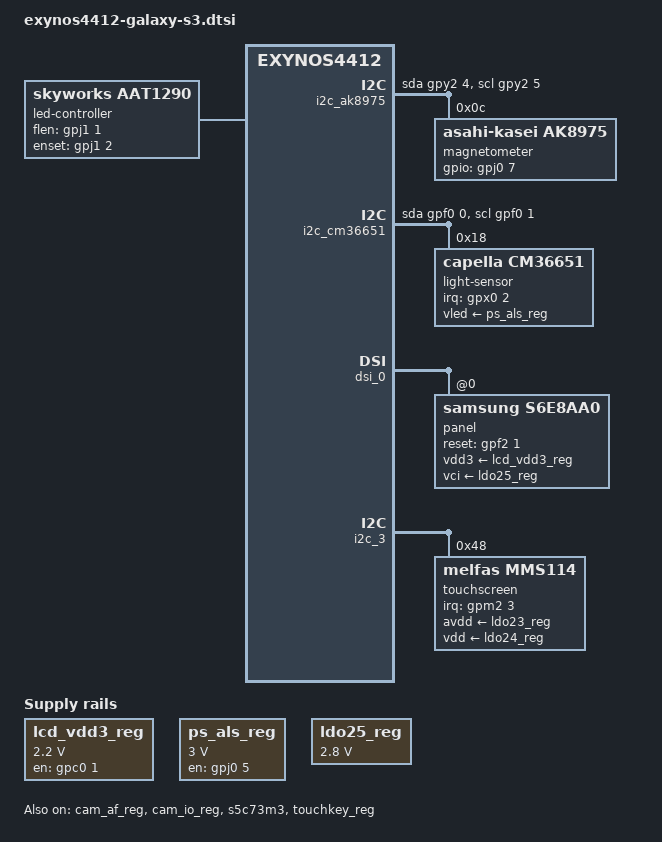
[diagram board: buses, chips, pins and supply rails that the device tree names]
// SPDX-License-Identifier: GPL-2.0
/*
 * Samsung's Exynos4412 based Galaxy S3 board device tree source
 *
 * Copyright (c) 2013 Samsung Electronics Co., Ltd.
 *		http://www.samsung.com
 */

/dts-v1/;
#include "exynos4412-midas.dtsi"

/ {
	aliases {
		i2c9 = &i2c_ak8975;
		i2c10 = &i2c_cm36651;
	};

	led-controller {
		compatible = "skyworks,aat1290";
		flen-gpios = <&gpj1 1 GPIO_ACTIVE_HIGH>;
		enset-gpios = <&gpj1 2 GPIO_ACTIVE_HIGH>;

		pinctrl-names = "default", "host", "isp";
		pinctrl-0 = <&camera_flash_host>;
		pinctrl-1 = <&camera_flash_host>;
		pinctrl-2 = <&camera_flash_isp>;

		flash-led {
			label = "flash";
			led-max-microamp = <520833>;
			flash-max-microamp = <1012500>;
			flash-max-timeout-us = <1940000>;
		};
	};

	lcd_vdd3_reg: voltage-regulator-10 {
		compatible = "regulator-fixed";
		regulator-name = "LCD_VDD_2.2V";
		regulator-min-microvolt = <2200000>;
		regulator-max-microvolt = <2200000>;
		gpio = <&gpc0 1 GPIO_ACTIVE_HIGH>;
		enable-active-high;
	};

	ps_als_reg: voltage-regulator-11 {
		compatible = "regulator-fixed";
		regulator-name = "LED_A_3.0V";
		regulator-min-microvolt = <3000000>;
		regulator-max-microvolt = <3000000>;
		gpio = <&gpj0 5 GPIO_ACTIVE_HIGH>;
		enable-active-high;
	};

	i2c_ak8975: i2c-gpio-0 {
		compatible = "i2c-gpio";
		sda-gpios = <&gpy2 4 (GPIO_ACTIVE_HIGH | GPIO_OPEN_DRAIN)>;
		scl-gpios = <&gpy2 5 (GPIO_ACTIVE_HIGH | GPIO_OPEN_DRAIN)>;
		i2c-gpio,delay-us = <2>;
		#address-cells = <1>;
		#size-cells = <0>;

		magnetometer@c {
			compatible = "asahi-kasei,ak8975";
			reg = <0x0c>;
			gpios = <&gpj0 7 GPIO_ACTIVE_HIGH>;
		};
	};

	i2c_cm36651: i2c-gpio-2 {
		compatible = "i2c-gpio";
		sda-gpios = <&gpf0 0 (GPIO_ACTIVE_HIGH | GPIO_OPEN_DRAIN)>;
		scl-gpios = <&gpf0 1 (GPIO_ACTIVE_HIGH | GPIO_OPEN_DRAIN)>;
		i2c-gpio,delay-us = <2>;
		#address-cells = <1>;
		#size-cells = <0>;

		light-sensor@18 {
			compatible = "capella,cm36651";
			reg = <0x18>;
			interrupt-parent = <&gpx0>;
			interrupts = <2 IRQ_TYPE_EDGE_FALLING>;
			vled-supply = <&ps_als_reg>;
		};
	};
};

&buck9_reg {
	maxim,ena-gpios = <&gpm0 3 GPIO_ACTIVE_HIGH>;
};

&cam_af_reg {
	gpio = <&gpm0 4 GPIO_ACTIVE_HIGH>;
	status = "okay";
};

&cam_io_reg {
	gpio = <&gpm0 2 GPIO_ACTIVE_HIGH>;
	status = "okay";
};

&dsi_0 {
	status = "okay";

	panel@0 {
		compatible = "samsung,s6e8aa0";
		reg = <0>;
		vdd3-supply = <&lcd_vdd3_reg>;
		vci-supply = <&ldo25_reg>;
		reset-gpios = <&gpf2 1 GPIO_ACTIVE_HIGH>;
		power-on-delay= <50>;
		reset-delay = <100>;
		init-delay = <100>;
		flip-horizontal;
		flip-vertical;
		panel-width-mm = <58>;
		panel-height-mm = <103>;

		display-timings {
			timing-0 {
				clock-frequency = <57153600>;
				hactive = <720>;
				vactive = <1280>;
				hfront-porch = <5>;
				hback-porch = <5>;
				hsync-len = <5>;
				vfront-porch = <13>;
				vback-porch = <1>;
				vsync-len = <2>;
			};
		};
	};
};

&i2c_3 {
	touchscreen@48 {
		compatible = "melfas,mms114";
		reg = <0x48>;
		interrupt-parent = <&gpm2>;
		interrupts = <3 IRQ_TYPE_EDGE_FALLING>;
		touchscreen-size-x = <720>;
		touchscreen-size-y = <1280>;
		avdd-supply = <&ldo23_reg>;
		vdd-supply = <&ldo24_reg>;
	};
};

&ldo25_reg {
	regulator-name = "LCD_VCC_3.3V";
	regulator-min-microvolt = <2800000>;
	regulator-max-microvolt = <2800000>;
};

&pinctrl_0 {
	camera_flash_host: camera-flash-host {
		samsung,pins = "gpj1-0";
		samsung,pin-function = <EXYNOS_PIN_FUNC_OUTPUT>;
		samsung,pin-val = <0>;
	};

	camera_flash_isp: camera-flash-isp {
		samsung,pins = "gpj1-0";
		samsung,pin-function = <EXYNOS_PIN_FUNC_OUTPUT>;
		samsung,pin-val = <1>;
	};
};

&s5c73m3 {
	standby-gpios = <&gpm0 1 GPIO_ACTIVE_LOW>;   /* ISP_STANDBY */
	vdda-supply = <&ldo17_reg>;
	status = "okay";
};

&sound {
	samsung,audio-routing =
		"HP", "HPOUT1L",
		"HP", "HPOUT1R",

		"SPK", "SPKOUTLN",
		"SPK", "SPKOUTLP",
		"SPK", "SPKOUTRN",
		"SPK", "SPKOUTRP",

		"RCV", "HPOUT2N",
		"RCV", "HPOUT2P",

		"HDMI", "LINEOUT1N",
		"HDMI", "LINEOUT1P",

		"LINE", "LINEOUT2N",
		"LINE", "LINEOUT2P",

		"IN1LP", "MICBIAS1",
		"IN1LN", "MICBIAS1",
		"Main Mic", "MICBIAS1",

		"IN1RP", "Sub Mic",
		"IN1RN", "Sub Mic",

		"IN2LP:VXRN", "MICBIAS2",
		"Headset Mic", "MICBIAS2",

		"IN2RN", "FM In",
		"IN2RP:VXRP", "FM In";
};

&submic_bias_reg {
	gpio = <&gpf2 0 GPIO_ACTIVE_HIGH>;
	enable-active-high;
};

&touchkey_reg {
	gpio = <&gpm0 0 GPIO_ACTIVE_HIGH>;
	status = "okay";
};
